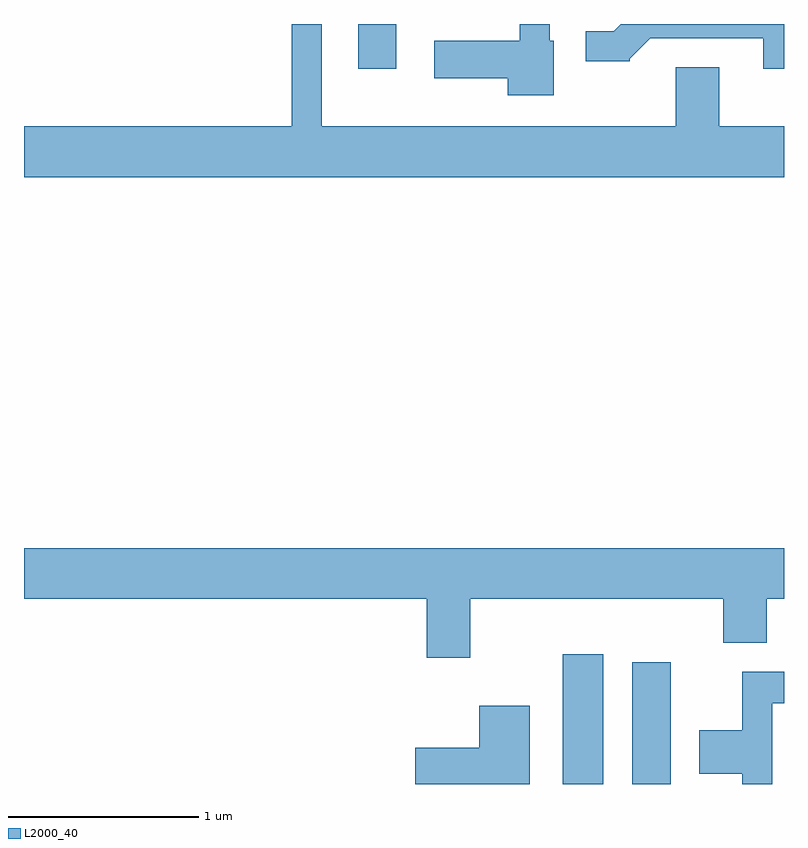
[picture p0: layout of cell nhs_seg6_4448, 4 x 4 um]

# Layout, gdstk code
import gdstk
lib = gdstk.Library(unit=1e-6, precision=1e-09)
def R(c, l, rs):  # rectangles x0, y0, x1, y1
    for r in rs: c.add(gdstk.rectangle(r[:2], r[2:], *l))
def P(c, l, *ps):  # polygons
    for p in ps: c.add(gdstk.Polygon(p, *l))
L2000_40 = (2000, 40)

nhs_seg6_4448 = lib.new_cell('nhs_seg6_4448')
R(nhs_seg6_4448, L2000_40, [(324.446,1560.162,324.659,1560.844), (324.811,1560.162,325.014,1560.804), (323.371,1563.926,323.569,1564.162)])
P(nhs_seg6_4448, L2000_40, [(324.399,1564.074),(324.379,1564.074),(324.379,1564.162),(324.221,1564.162),(324.221,1564.074),(323.771,1564.074),(323.771,1563.876),(324.156,1563.876),(324.156,1563.786),(324.399,1563.786)],
  [(325.611,1563.624),(325.269,1563.624),(325.269,1563.934),(325.041,1563.934),(325.041,1563.624),(323.179,1563.624),(323.179,1564.162),(323.021,1564.162),(323.021,1563.624),(321.611,1563.624),(321.611,1563.356),(325.611,1563.356)],
  [(325.611,1564.162),(324.752,1564.162),(324.714,1564.124),(324.568,1564.124),(324.568,1563.966),(324.8,1563.966),(324.8,1563.98),(324.833,1564.013),(324.907,1564.086),(325.501,1564.086),(325.501,1563.926),(325.611,1563.926)],
  [(323.959,1561.136),(325.291,1561.136),(325.291,1560.906),(325.519,1560.906),(325.519,1561.136),(325.611,1561.136),(325.611,1561.404),(321.611,1561.404),(321.611,1561.136),(323.731,1561.136),(323.731,1560.826),(323.959,1560.826)],
  [(325.549,1560.586),(325.611,1560.586),(325.611,1560.754),(325.391,1560.754),(325.391,1560.444),(325.166,1560.444),(325.166,1560.216),(325.391,1560.216),(325.391,1560.162),(325.549,1560.162)],
  [(324.274,1560.574),(324.006,1560.574),(324.006,1560.354),(323.671,1560.354),(323.671,1560.162),(324.274,1560.162)])

lib.write_gds('nhs_seg6_4448.gds')
